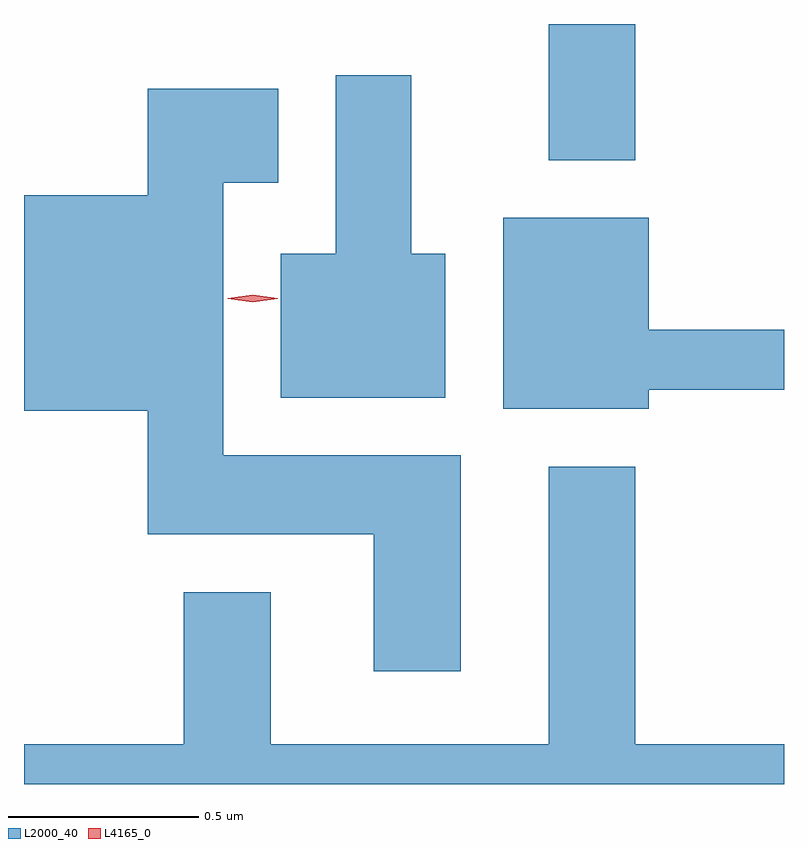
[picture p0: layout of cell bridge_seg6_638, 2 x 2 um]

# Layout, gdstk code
import gdstk
lib = gdstk.Library(unit=1e-6, precision=1e-09)
def R(c, l, rs):  # rectangles x0, y0, x1, y1
    for r in rs: c.add(gdstk.rectangle(r[:2], r[2:], *l))
def P(c, l, *ps):  # polygons
    for p in ps: c.add(gdstk.Polygon(p, *l))
L2000_40 = (2000, 40)
L4165_0 = (4165, 0)

bridge_seg6_638 = lib.new_cell('bridge_seg6_638')
R(bridge_seg6_638, L2000_40, [(606.701,1614.001,606.929,1614.359)])
P(bridge_seg6_638, L2000_40, [(606.429,1613.754),(606.339,1613.754),(606.339,1614.224),(606.141,1614.224),(606.141,1613.754),(605.996,1613.754),(605.996,1613.376),(606.429,1613.376)],
  [(606.469,1613.224),(605.844,1613.224),(605.844,1613.941),(605.989,1613.941),(605.989,1614.189),(605.646,1614.189),(605.646,1613.909),(605.32,1613.909),(605.32,1613.341),(605.646,1613.341),(605.646,1613.016),(606.241,1613.016),(606.241,1612.656),(606.469,1612.656)],
  [(606.964,1613.396),(607.32,1613.396),(607.32,1613.554),(606.964,1613.554),(606.964,1613.849),(606.581,1613.849),(606.581,1613.346),(606.964,1613.346)],
  [(607.32,1612.464),(606.929,1612.464),(606.929,1613.194),(606.701,1613.194),(606.701,1612.464),(605.969,1612.464),(605.969,1612.864),(605.741,1612.864),(605.741,1612.464),(605.32,1612.464),(605.32,1612.359),(607.32,1612.359)])
P(bridge_seg6_638, L4165_0, [(605.922,1613.627),(605.856,1613.636),(605.856,1613.637),(605.856,1613.637),(605.922,1613.647),(605.988,1613.637),(605.988,1613.637),(605.988,1613.636)])

lib.write_gds('bridge_seg6_638.gds')
